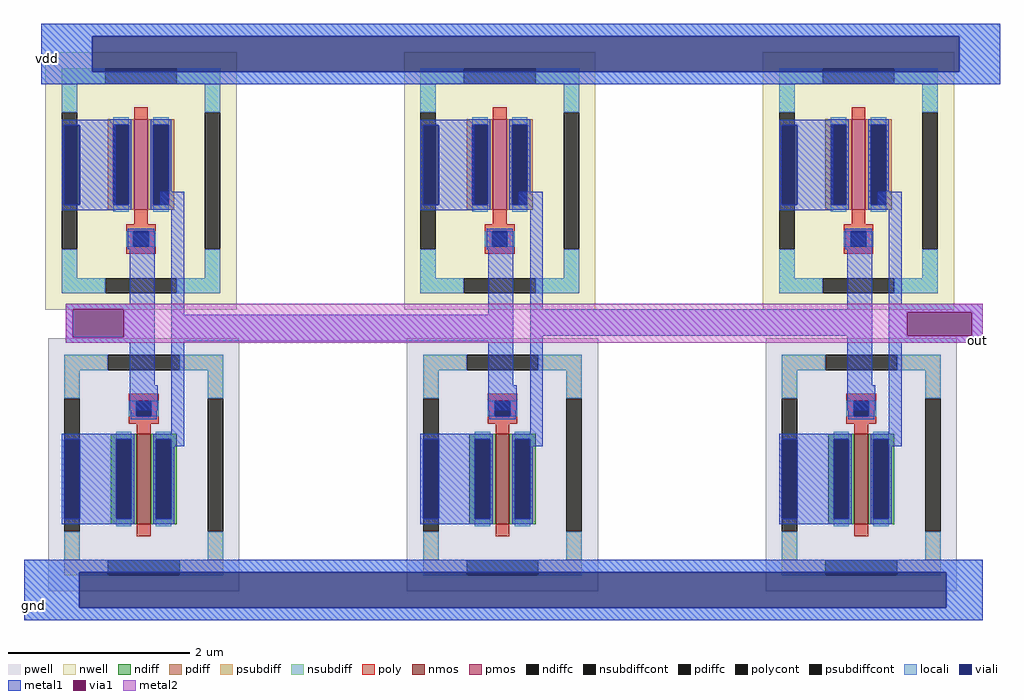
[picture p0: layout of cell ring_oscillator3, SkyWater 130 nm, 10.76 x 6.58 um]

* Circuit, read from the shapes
.subckt ring_oscillator3 vdd gnd out
XM1 x2/in out gnd gnd sky130_fd_pr__nfet_01v8 w=1 l=0.15
XM2 x3/in x2/in gnd gnd sky130_fd_pr__nfet_01v8 w=1 l=0.15
XM3 out x3/in gnd gnd sky130_fd_pr__nfet_01v8 w=1 l=0.15
XM4 x2/in out vdd vdd sky130_fd_pr__pfet_01v8 w=1 l=0.15
XM5 x3/in x2/in vdd vdd sky130_fd_pr__pfet_01v8 w=1 l=0.15
XM6 out x3/in vdd vdd sky130_fd_pr__pfet_01v8 w=1 l=0.15
.ends

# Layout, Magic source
magic
tech sky130A
magscale 1 2
<< locali >>
rect 44 1330 2158 1358
rect 44 1252 156 1330
rect 2068 1252 2158 1330
rect 44 1224 2158 1252
rect 6 148 2120 176
rect 6 70 128 148
rect 2040 70 2120 148
rect 6 42 2120 70
<< viali >>
rect 156 1252 2068 1330
rect 128 70 2040 148
<< metal1 >>
rect 44 1330 2158 1358
rect 44 1252 156 1330
rect 2068 1252 2158 1330
rect 44 1224 2158 1252
rect 98 728 240 740
rect 98 666 114 728
rect 226 666 240 728
rect 98 654 240 666
rect 342 658 1050 716
rect 1140 670 1848 728
rect 1928 722 2120 740
rect 1928 670 1954 722
rect 2096 670 2120 722
rect 1928 654 2120 670
rect 6 148 2120 176
rect 6 70 128 148
rect 2040 70 2120 148
rect 6 42 2120 70
<< via1 >>
rect 114 666 226 728
rect 1954 670 2096 722
<< metal2 >>
rect 98 728 2120 740
rect 98 666 114 728
rect 226 722 2120 728
rect 226 670 1954 722
rect 2096 670 2120 722
rect 226 666 2120 670
rect 98 654 2120 666
use inverter  x1
transform 1 0 -146 0 1 1
box 199 105 627 1294
use inverter  x2
transform 1 0 645 0 1 1
box 199 105 627 1294
use inverter  x3
transform 1 0 1436 0 1 1
box 199 105 627 1294
<< labels >>
flabel metal2 2108 660 2108 660 0 FreeSans 1600 0 0 0 out
port 2 nsew
flabel metal1 28 76 28 76 0 FreeSans 1600 0 0 0 gnd
port 1 nsew
flabel metal1 58 1280 58 1280 0 FreeSans 1600 0 0 0 vdd
port 0 nsew
<< end >>

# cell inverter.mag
magic
tech sky130A
magscale 1 2
<< pwell >>
rect 383 519 449 556
<< viali >>
rect 241 957 275 1133
rect 241 265 275 441
<< metal1 >>
rect 235 1133 354 1145
rect 235 957 241 1133
rect 275 957 354 1133
rect 452 958 505 986
rect 235 945 354 957
rect 385 559 440 896
rect 385 504 447 559
rect 477 453 505 958
rect 235 441 352 453
rect 235 265 241 441
rect 275 265 352 441
rect 476 425 505 453
rect 235 253 352 265
use sky130_fd_pr__nfet_01v8_64Z3AY  sky130_fd_pr__nfet_01v8_64Z3AY_0
transform 1 0 416 0 1 384
box -211 -279 211 279
use sky130_fd_pr__pfet_01v8_LGS3BL  XM2
transform 1 0 410 0 1 1010
box -211 -284 211 284
<< labels >>
flabel metal1 238 952 238 952 0 FreeSans 480 0 0 0 vdd
port 0 nsew
flabel metal1 391 685 391 685 0 FreeSans 480 0 0 0 in
port 1 nsew
flabel metal1 486 690 486 690 0 FreeSans 480 0 0 0 out
port 2 nsew
flabel metal1 239 257 239 257 0 FreeSans 480 0 0 0 gnd
port 3 nsew
<< end >>

# cell sky130_fd_pr__nfet_01v8_64Z3AY: kit device sky130_fd_pr__nfet_01v8, w 1.0 l 0.15 m 1 nf 1 diffcov 100 polycov 100 guard 1 glc 1 grc 1 gtc 1 gbc 1 tbcov 100 rlcov 100 topc 1 botc 0 poverlap 0 doverlap 1 lmin 0.15 wmin 0.42 compatible {sky130_fd_pr__nfet_01v8 sky130_fd_pr__nfet_01v8_lvt sky130_fd_bs_flash__special_sonosfet_star sky130_fd_pr__nfet_g5v0d10v5 sky130_fd_pr__nfet_05v0_nvt sky130_fd_pr__nfet_03v3_nvt} full_metal 1 viasrc 100 viadrn 100 viagate 100 viagb 0 viagr 0 viagl 0 viagt 0

# cell sky130_fd_pr__pfet_01v8_LGS3BL: kit device sky130_fd_pr__pfet_01v8, w 1.0 l 0.15 m 1 nf 1 diffcov 100 polycov 100 guard 1 glc 1 grc 1 gtc 1 gbc 1 tbcov 100 rlcov 100 topc 0 botc 1 poverlap 0 doverlap 1 lmin 0.15 wmin 0.42 compatible {sky130_fd_pr__pfet_01v8 sky130_fd_pr__pfet_01v8_lvt sky130_fd_pr__pfet_01v8_hvt sky130_fd_pr__pfet_g5v0d10v5} full_metal 1 viasrc 100 viadrn 100 viagate 100 viagb 0 viagr 0 viagl 0 viagt 0
